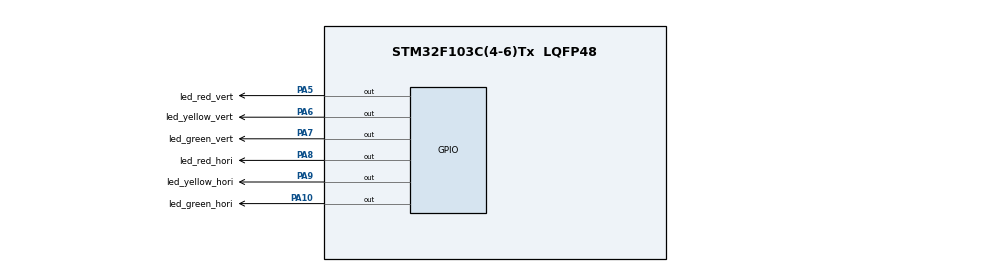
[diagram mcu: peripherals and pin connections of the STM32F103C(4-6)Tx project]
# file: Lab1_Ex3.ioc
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Mcu.Family=STM32F1
Mcu.Name=STM32F103C(4-6)Tx
Mcu.Package=LQFP48
NVIC.PriorityGroup=NVIC_PRIORITYGROUP_4
PA10.GPIO_Label=led_green_hori
PA10.Signal=GPIO_Output
PA5.GPIO_Label=led_red_vert
PA5.Signal=GPIO_Output
PA6.GPIO_Label=led_yellow_vert
PA6.Signal=GPIO_Output
PA7.GPIO_Label=led_green_vert
PA7.Signal=GPIO_Output
PA8.GPIO_Label=led_red_hori
PA8.Signal=GPIO_Output
PA9.GPIO_Label=led_yellow_hori
PA9.Signal=GPIO_Output
ProjectManager.HeapSize=0x200
ProjectManager.StackSize=0x400
ProjectManager.TargetToolchain=STM32CubeIDE
RCC.APB1Freq_Value=8000000
RCC.APB2Freq_Value=8000000
VP_SYS_VS_ND.Mode=No_Debug
board=custom

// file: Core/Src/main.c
/* USER CODE BEGIN Header */
/**
  ******************************************************************************
  * @file           : main.c
  * @brief          : Main program body
  ******************************************************************************
  * @attention
  *
  * <h2><center>&copy; Copyright (c) 2022 STMicroelectronics.
  * All rights reserved.</center></h2>
  *
  * This software component is licensed by ST under BSD 3-Clause license,
  * the "License"; You may not use this file except in compliance with the
  * License. You may obtain a copy of the License at:
  *                        opensource.org/licenses/BSD-3-Clause
  *
  ******************************************************************************
  */
/* USER CODE END Header */
#include "main.h"

void SystemClock_Config(void);
static void MX_GPIO_Init(void);
/* USER CODE BEGIN PFP */

char led_toggle(GPIO_TypeDef* red, uint16_t red_pin , GPIO_TypeDef* yellow, uint16_t yellow_pin, GPIO_TypeDef* green, uint16_t green_pin, char color);

/* USER CODE END PFP */

int main(void)
{

  /* MCU Configuration--------------------------------------------------------*/

  /* Reset of all peripherals, Initializes the Flash interface and the Systick. */
  HAL_Init();

  /* Configure the system clock */
  SystemClock_Config();

  /* Initialize all configured peripherals */
  MX_GPIO_Init();

  /* Infinite loop */
  /* USER CODE BEGIN WHILE */
  char color_x;
  char color_y;
  int first_time = 1;
  while (1)
  {
	  if(first_time == 1)
	  {
		  HAL_GPIO_TogglePin(led_yellow_vert_GPIO_Port, led_yellow_vert_Pin);
		  HAL_GPIO_TogglePin(led_green_vert_GPIO_Port, led_green_vert_Pin);
		  color_y = 'R';

		  HAL_GPIO_TogglePin(led_yellow_hori_GPIO_Port, led_yellow_hori_Pin);
		  HAL_GPIO_TogglePin(led_red_hori_GPIO_Port, led_red_hori_Pin);
		  color_x = 'G';

		  first_time = 0;
	  }
	  if(color_y == 'R')
	  {
		  HAL_Delay(3000);
		  color_x = led_toggle(led_red_hori_GPIO_Port, led_red_hori_Pin, led_yellow_hori_GPIO_Port, led_yellow_hori_Pin, led_green_hori_GPIO_Port, led_green_hori_Pin, color_x);
		  HAL_Delay(2000);
		  color_x = led_toggle(led_red_hori_GPIO_Port, led_red_hori_Pin, led_yellow_hori_GPIO_Port, led_yellow_hori_Pin, led_green_hori_GPIO_Port, led_green_hori_Pin, color_x);
		  color_y = led_toggle(led_red_vert_GPIO_Port, led_red_vert_Pin, led_yellow_vert_GPIO_Port, led_yellow_vert_Pin, led_green_vert_GPIO_Port, led_green_vert_Pin, color_y);
	  }
	  else if (color_x == 'R')
	  {
		  HAL_Delay(3000);
		  color_y = led_toggle(led_red_vert_GPIO_Port, led_red_vert_Pin, led_yellow_vert_GPIO_Port, led_yellow_vert_Pin, led_green_vert_GPIO_Port, led_green_vert_Pin, color_y);
		  HAL_Delay(2000);
		  color_y = led_toggle(led_red_vert_GPIO_Port, led_red_vert_Pin, led_yellow_vert_GPIO_Port, led_yellow_vert_Pin, led_green_vert_GPIO_Port, led_green_vert_Pin, color_y);
		  color_x = led_toggle(led_red_hori_GPIO_Port, led_red_hori_Pin, led_yellow_hori_GPIO_Port, led_yellow_hori_Pin, led_green_hori_GPIO_Port, led_green_hori_Pin, color_x);
	  }

    /* USER CODE END WHILE */

  }
}

void SystemClock_Config(void)
{
  RCC_OscInitTypeDef RCC_OscInitStruct = {0};
  RCC_ClkInitTypeDef RCC_ClkInitStruct = {0};

  /** Initializes the RCC Oscillators according to the specified parameters
  * in the RCC_OscInitTypeDef structure.
  */
  RCC_OscInitStruct.OscillatorType = RCC_OSCILLATORTYPE_HSI;
  RCC_OscInitStruct.HSIState = RCC_HSI_ON;
  RCC_OscInitStruct.HSICalibrationValue = RCC_HSICALIBRATION_DEFAULT;
  RCC_OscInitStruct.PLL.PLLState = RCC_PLL_NONE;
  if (HAL_RCC_OscConfig(&RCC_OscInitStruct) != HAL_OK)
  {
    Error_Handler();
  }
  /** Initializes the CPU, AHB and APB buses clocks
  */
  RCC_ClkInitStruct.ClockType = RCC_CLOCKTYPE_HCLK|RCC_CLOCKTYPE_SYSCLK
                              |RCC_CLOCKTYPE_PCLK1|RCC_CLOCKTYPE_PCLK2;
  RCC_ClkInitStruct.SYSCLKSource = RCC_SYSCLKSOURCE_HSI;
  RCC_ClkInitStruct.AHBCLKDivider = RCC_SYSCLK_DIV1;
  RCC_ClkInitStruct.APB1CLKDivider = RCC_HCLK_DIV1;
  RCC_ClkInitStruct.APB2CLKDivider = RCC_HCLK_DIV1;

  if (HAL_RCC_ClockConfig(&RCC_ClkInitStruct, FLASH_LATENCY_0) != HAL_OK)
  {
    Error_Handler();
  }
}

static void MX_GPIO_Init(void)
{
  GPIO_InitTypeDef GPIO_InitStruct = {0};

  /* GPIO Ports Clock Enable */
  __HAL_RCC_GPIOA_CLK_ENABLE();

  /*Configure GPIO pin Output Level */
  HAL_GPIO_WritePin(GPIOA, led_red_vert_Pin|led_yellow_vert_Pin|led_green_vert_Pin|led_red_hori_Pin
                          |led_yellow_hori_Pin|led_green_hori_Pin, GPIO_PIN_RESET);

  /*Configure GPIO pins : led_red_vert_Pin led_yellow_vert_Pin led_green_vert_Pin led_red_hori_Pin
                           led_yellow_hori_Pin led_green_hori_Pin */
  GPIO_InitStruct.Pin = led_red_vert_Pin|led_yellow_vert_Pin|led_green_vert_Pin|led_red_hori_Pin
                          |led_yellow_hori_Pin|led_green_hori_Pin;
  GPIO_InitStruct.Mode = GPIO_MODE_OUTPUT_PP;
  GPIO_InitStruct.Pull = GPIO_NOPULL;
  GPIO_InitStruct.Speed = GPIO_SPEED_FREQ_LOW;
  HAL_GPIO_Init(GPIOA, &GPIO_InitStruct);

}

/* USER CODE BEGIN 4 */

char led_toggle(GPIO_TypeDef* red, uint16_t red_pin , GPIO_TypeDef* yellow, uint16_t yellow_pin, GPIO_TypeDef* green, uint16_t green_pin, char color)
{
	  if(color == 'R')
	  {
		  HAL_GPIO_TogglePin(red, red_pin);
		  HAL_GPIO_TogglePin(green, green_pin);
		  color = 'G';
	  }
	  else if (color == 'Y')
	  {
		  HAL_GPIO_TogglePin(yellow, yellow_pin);
		  HAL_GPIO_TogglePin(red, red_pin);
		  color = 'R';
	  }
	  else if (color == 'G')
	  {
		  HAL_GPIO_TogglePin(green, green_pin);
		  HAL_GPIO_TogglePin(yellow, yellow_pin);
		  color = 'Y';
	  }
	  return color;
}

/* USER CODE END 4 */

void Error_Handler(void)
{
  __disable_irq();
  while (1)
  {
  }
}

/************************ (C) COPYRIGHT STMicroelectronics *****END OF FILE****/
